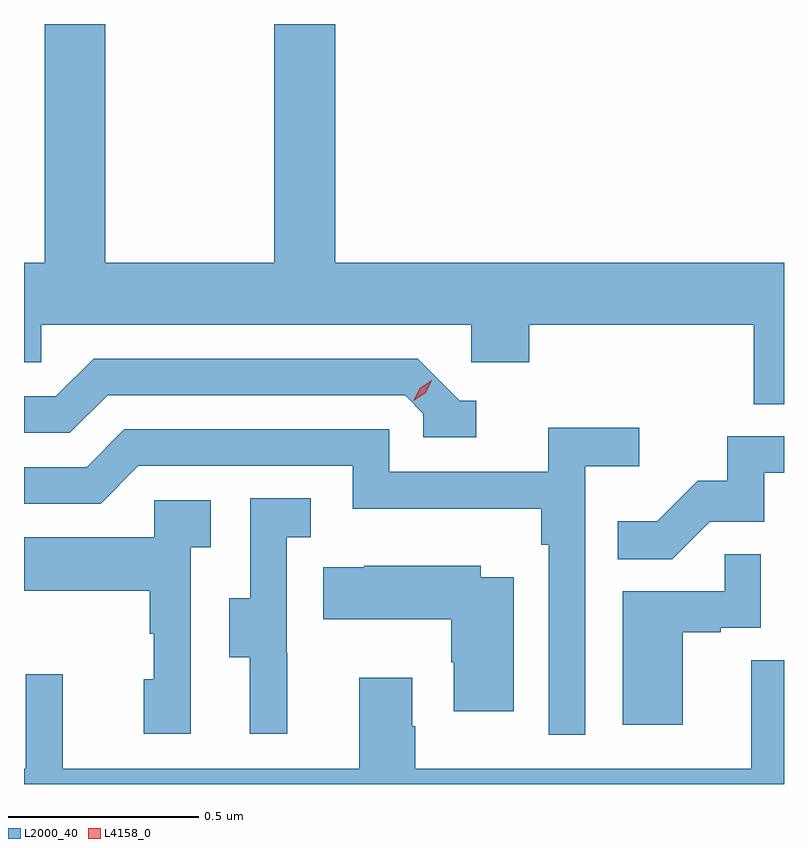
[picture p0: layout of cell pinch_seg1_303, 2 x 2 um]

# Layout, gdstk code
import gdstk
lib = gdstk.Library(unit=1e-6, precision=1e-09)
def P(c, l, *ps):  # polygons
    for p in ps: c.add(gdstk.Polygon(p, *l))
L2000_40 = (2000, 40)
L4158_0 = (4158, 0)

pinch_seg1_303 = lib.new_cell('pinch_seg1_303')
P(pinch_seg1_303, L2000_40, [(926.119,562.552),(924.938,562.552),(924.938,563.18),(924.778,563.18),(924.778,562.552),(924.333,562.552),(924.333,563.18),(924.173,563.18),(924.173,562.552),(924.119,562.552),(924.119,562.29),(924.165,562.29),(924.165,562.388),(925.296,562.388),(925.296,562.29),(925.448,562.29),(925.448,562.388),(926.039,562.388),(926.039,562.18),(926.119,562.18)],
  [(925.309,562.188),(925.266,562.188),(925.155,562.299),(924.302,562.299),(924.203,562.2),(924.119,562.2),(924.119,562.104),(924.24,562.104),(924.339,562.203),(925.122,562.203),(925.17,562.155),(925.17,562.092),(925.309,562.092)],
  [(925.596,562.016),(925.738,562.016),(925.738,562.118),(925.499,562.118),(925.499,562.002),(925.08,562.002),(925.08,562.113),(924.383,562.113),(924.284,562.014),(924.119,562.014),(924.119,561.918),(924.321,561.918),(924.42,562.017),(924.984,562.017),(924.984,561.905),(925.48,561.905),(925.48,561.809),(925.5,561.809),(925.5,561.309),(925.596,561.309)],
  [(925.923,561.87),(926.067,561.87),(926.067,561.999),(926.119,561.999),(926.119,562.095),(925.969,562.095),(925.969,561.978),(925.892,561.978),(925.785,561.871),(925.681,561.871),(925.681,561.772),(925.825,561.772)],
  [(924.812,561.525),(924.81,561.525),(924.81,561.829),(924.874,561.829),(924.874,561.932),(924.714,561.932),(924.714,561.669),(924.659,561.669),(924.659,561.514),(924.713,561.514),(924.713,561.312),(924.812,561.312)],
  [(924.558,561.803),(924.61,561.803),(924.61,561.927),(924.462,561.927),(924.462,561.829),(924.119,561.829),(924.119,561.689),(924.45,561.689),(924.45,561.575),(924.46,561.575),(924.46,561.456),(924.434,561.456),(924.434,561.312),(924.558,561.312)],
  [(925.852,561.579),(925.952,561.579),(925.952,561.591),(926.058,561.591),(926.058,561.785),(925.963,561.785),(925.963,561.687),(925.694,561.687),(925.694,561.336),(925.852,561.336)],
  [(925.408,561.724),(925.321,561.724),(925.321,561.754),(925.015,561.754),(925.015,561.751),(924.907,561.751),(924.907,561.614),(925.243,561.614),(925.243,561.501),(925.25,561.501),(925.25,561.372),(925.408,561.372)],
  [(926.119,561.506),(926.033,561.506),(926.033,561.22),(925.149,561.22),(925.149,561.332),(925.141,561.332),(925.141,561.46),(925.001,561.46),(925.001,561.22),(924.221,561.22),(924.221,561.469),(924.123,561.469),(924.123,561.22),(924.119,561.22),(924.119,561.18),(926.119,561.18)])
P(pinch_seg1_303, L4158_0, [(925.145,562.189),(925.145,562.19),(925.161,562.222),(925.192,562.242),(925.192,562.242),(925.192,562.242),(925.176,562.209),(925.145,562.189)])

lib.write_gds('pinch_seg1_303.gds')
